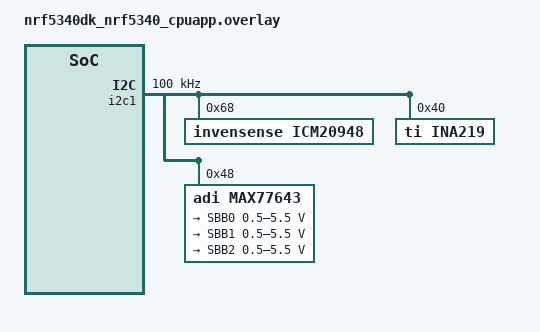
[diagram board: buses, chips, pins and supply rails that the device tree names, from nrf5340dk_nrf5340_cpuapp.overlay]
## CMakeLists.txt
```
# SPDX-License-Identifier: Apache-2.0

cmake_minimum_required(VERSION 3.20.0)

find_package(Zephyr REQUIRED HINTS $ENV{ZEPHYR_BASE})
project(ina219_magnetometer_max77643)

target_sources(app PRIVATE 
    src/main.c
    src/icm20948_zephyr.c
    src/xyzFloat_c.c
    src/ina219.c
    src/max77643.c
    src/signal_reconstruction.c
    src/motor_period_detector.c
)

target_include_directories(app PRIVATE
    src
    ${ZEPHYR_BASE}/include
    ${ZEPHYR_BASE}/drivers
)

zephyr_library_include_directories(${ZEPHYR_BASE}/include)
zephyr_library_include_directories(${ZEPHYR_BASE}/drivers)
zephyr_library_include_directories(${ZEPHYR_BASE}/subsys/logging)
```

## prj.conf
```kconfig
# nothing here
# nothing here
CONFIG_I2C=y
CONFIG_PRINTK=y
CONFIG_LOG=y
CONFIG_LOG_DEFAULT_LEVEL=3
CONFIG_SERIAL=y
CONFIG_CONSOLE=y
CONFIG_UART_CONSOLE=y
CONFIG_I2C_NRFX=y
CONFIG_NRFX_TIMER1=y
CONFIG_BOARD_ENABLE_CPUNET=y
CONFIG_SENSOR=y
CONFIG_CBPRINTF_FP_SUPPORT=y 
CONFIG_CMSIS_DSP=y
CONFIG_LOG_BACKEND_UART=n
CONFIG_USE_SEGGER_RTT=y
CONFIG_LOG_BACKEND_RTT=y
CONFIG_LOG_MODE_IMMEDIATE=y


# 在 Zephyr 啟用 CMSIS-DSP 函式庫的各種功能模組
CONFIG_CMSIS_DSP_FILTERING=y
CONFIG_CMSIS_DSP_STATISTICS=y
CONFIG_CMSIS_DSP_INTERPOLATION=y
CONFIG_FPU=y
CONFIG_FPU_SHARING=y

CONFIG_MAIN_STACK_SIZE=2048
CONFIG_SYSTEM_WORKQUEUE_STACK_SIZE=2048

CONFIG_THREAD_ANALYZER=y
CONFIG_THREAD_ANALYZER_USE_PRINTK=y
CONFIG_THREAD_NAME=y
CONFIG_THREAD_STACK_INFO=y

CONFIG_LOG_PROCESS_THREAD_STACK_SIZE=2048

CONFIG_GPIO=y
```

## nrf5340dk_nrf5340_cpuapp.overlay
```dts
&i2c1 {
	status = "okay";
	// compatible = "st,stm32-i2c-v1";
	compatible = "nordic,nrf-twim";
	clock-frequency = <I2C_BITRATE_STANDARD>;
	// clock-frequency = <100000>;
	pinctrl-0 = <&i2c1_default>;
    pinctrl-1 = <&i2c1_sleep>;
    pinctrl-names = "default", "sleep";

    icm20948: icm20948@68{
        compatible = "invensense,icm20948";
        reg = <0x68>;
		status = "okay";
    };
    ina219@40 {
		status = "okay";
		compatible = "ti,ina219";
		reg = <0x40>;
		brng = <0>;
		pg = <0>;
		sadc = <11>;
		badc = <11>;
		shunt-milliohm = <100>;
		lsb-microamp = <10>;
	};
	max77643: max77643@48 {
        compatible = "adi,max77643";
        // compatible = "i2c-device";
        reg = <0x48>;
        status = "okay";
        regulators {
            compatible = "adi,max77643-regulator";
            SBB0 {
                regulator-boot-on;
                regulator-min-microvolt = <500000>;   // 0.5V
                regulator-max-microvolt = <5500000>;  // 5.5V
            };
            SBB1 {
                regulator-boot-on;
                regulator-min-microvolt = <500000>;   // 0.5V
                regulator-max-microvolt = <5500000>;  // 5.5V
            };
            SBB2 {
                regulator-boot-on;
                regulator-min-microvolt = <500000>;   // 0.5V
                regulator-max-microvolt = <5500000>;  // 5.5V
            };
        };
    };
};
```

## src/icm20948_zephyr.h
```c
#ifndef ICM20948_ZEPHYR_H_
#define ICM20948_ZEPHYR_H_

#include <zephyr/kernel.h>
#include <zephyr/device.h>
#include <zephyr/drivers/i2c.h>
#include <zephyr/drivers/spi.h>
#include <zephyr/sys/util.h> // For BIT macros if needed
#include <stdbool.h>
#include "xyzFloat_c.h" // 使用轉換後的 xyzFloat_c.h

/* Enums from original library (can be kept as is) */
typedef enum {
    ICM20948_NO_CYCLE              = 0x00,
    ICM20948_GYR_CYCLE             = 0x10,
    ICM20948_ACC_CYCLE             = 0x20,
    ICM20948_ACC_GYR_CYCLE         = 0x30,
    ICM20948_ACC_GYR_I2C_MST_CYCLE = 0x70
} icm20948_cycle_t;

typedef enum {
    ICM20948_ACT_HIGH, ICM20948_ACT_LOW
} icm20948_int_pin_pol_t;

typedef enum {
    ICM20948_FSYNC_INT      = 0x01,
    ICM20948_WOM_INT        = 0x02,
    ICM20948_DMP_INT        = 0x04,
    ICM20948_DATA_READY_INT = 0x08,
    ICM20948_FIFO_OVF_INT   = 0x10,
    ICM20948_FIFO_WM_INT    = 0x20
} icm20948_int_type_t;

typedef enum {
    ICM20948_FIFO_ACC        = 0x10,
    ICM20948_FIFO_GYR        = 0x0E,
    ICM20948_FIFO_ACC_GYR    = 0x1E
} icm20948_fifo_type_t;

typedef enum {
    ICM20948_CONTINUOUS, ICM20948_STOP_WHEN_FULL
} icm20948_fifo_mode_t;

typedef enum {
    ICM20948_GYRO_RANGE_250, ICM20948_GYRO_RANGE_500, ICM20948_GYRO_RANGE_1000, ICM20948_GYRO_RANGE_2000
} icm20948_gyro_range_t;

typedef enum {
    ICM20948_DLPF_0, ICM20948_DLPF_1, ICM20948_DLPF_2, ICM20948_DLPF_3, ICM20948_DLPF_4, ICM20948_DLPF_5,
    ICM20948_DLPF_6, ICM20948_DLPF_7, ICM20948_DLPF_OFF
} icm20948_dlpf_t;

typedef enum {
    ICM20948_GYR_AVG_1, ICM20948_GYR_AVG_2, ICM20948_GYR_AVG_4, ICM20948_GYR_AVG_8, ICM20948_GYR_AVG_16,
    ICM20948_GYR_AVG_32, ICM20948_GYR_AVG_64, ICM20948_GYR_AVG_128
} icm20948_gyro_avg_low_power_t;

typedef enum {
    ICM20948_ACC_RANGE_2G, ICM20948_ACC_RANGE_4G, ICM20948_ACC_RANGE_8G, ICM20948_ACC_RANGE_16G
} icm20948_acc_range_t;

typedef enum {
    ICM20948_ACC_AVG_4, ICM20948_ACC_AVG_8, ICM20948_ACC_AVG_16, ICM20948_ACC_AVG_32
} icm20948_acc_avg_low_power_t;

typedef enum {
    ICM20948_WOM_COMP_DISABLE, ICM20948_WOM_COMP_ENABLE
} icm20948_wom_comp_en_t;

typedef enum {
    AK09916_PWR_DOWN           = 0x00,
    AK09916_TRIGGER_MODE       = 0x01,
    AK09916_CONT_MODE_10HZ     = 0x02,
    AK09916_CONT_MODE_20HZ     = 0x04,
    AK09916_CONT_MODE_50HZ     = 0x06,
    AK09916_CONT_MODE_100HZ    = 0x08
} ak09916_op_mode_t;

typedef enum {
  ICM20948_FLAT, ICM20948_FLAT_1, ICM20948_XY, ICM20948_XY_1, ICM20948_YX, ICM20948_YX_1
} icm20948_orientation_t;


/* Register definitions (from original .h, using #define) */
#define AK09916_ADDRESS                0x0C

/* Registers ICM20948 USER BANK 0*/
#define ICM20948_WHO_AM_I              0x00
#define ICM20948_USER_CTRL             0x03
#define ICM20948_LP_CONFIG             0x05
#define ICM20948_PWR_MGMT_1            0x06
#define ICM20948_PWR_MGMT_2            0x07
#define ICM20948_INT_PIN_CFG           0x0F
#define ICM20948_INT_ENABLE            0x10
#define ICM20948_INT_ENABLE_1          0x11
#define ICM20948_INT_ENABLE_2          0x12
#define ICM20948_INT_ENABLE_3          0x13
#define ICM20948_I2C_MST_STATUS        0x17
#define ICM20948_INT_STATUS            0x19
#define ICM20948_INT_STATUS_1          0x1A
#define ICM20948_INT_STATUS_2          0x1B
#define ICM20948_INT_STATUS_3          0x1C
#define ICM20948_DELAY_TIME_H          0x28
#define ICM20948_DELAY_TIME_L          0x29
#define ICM20948_ACCEL_OUT             0x2D // accel data registers begin
#define ICM20948_GYRO_OUT              0x33 // gyro data registers begin
#define ICM20948_TEMP_OUT              0x39
#define ICM20948_EXT_SLV_SENS_DATA_00  0x3B
#define ICM20948_FIFO_EN_1             0x66 // 新增
#define ICM20948_FIFO_EN_2             0x67 // 新增
#define ICM20948_FIFO_RST              0x68 // 新增
#define ICM20948_FIFO_MODE             0x69 // 新增
#define ICM20948_FIFO_COUNT            0x70 // 新增
#define ICM20948_FIFO_R_W              0x72 // 新增
#define ICM20948_DATA_RDY_STATUS       0x74 // 新增
#define ICM20948_FIFO_CFG              0x76 // 新增
// ... (add all other register definitions from the original ICM20948_WE.h) ...
#define ICM20948_REG_BANK_SEL          0x7F

/* Registers ICM20948 USER BANK 1*/ // 新增區塊
#define ICM20948_SELF_TEST_X_GYRO      0x02
#define ICM20948_SELF_TEST_Y_GYRO      0x03
#define ICM20948_SELF_TEST_Z_GYRO      0x04
#define ICM20948_SELF_TEST_X_ACCEL     0x0E
#define ICM20948_SELF_TEST_Y_ACCEL     0x0F
#define ICM20948_SELF_TEST_Z_ACCEL     0x10
#define ICM20948_XA_OFFS_H             0x14
#define ICM20948_XA_OFFS_L             0x15
#define ICM20948_YA_OFFS_H             0x17
#define ICM20948_YA_OFFS_L             0x18
#define ICM20948_ZA_OFFS_H             0x1A
#define ICM20948_ZA_OFFS_L             0x1B
#define ICM20948_TIMEBASE_CORR_PLL     0x28

/* Registers ICM20948 USER BANK 2*/
#define ICM20948_GYRO_SMPLRT_DIV       0x00 // 新增
#define ICM20948_GYRO_CONFIG_1         0x01 // <<< 錯誤點
#define ICM20948_GYRO_CONFIG_2         0x02 // 新增
#define ICM20948_XG_OFFS_USRH          0x03 // 新增
#define ICM20948_XG_OFFS_USRL          0x04 // 新增
#define ICM20948_YG_OFFS_USRH          0x05 // 新增
#define ICM20948_YG_OFFS_USRL          0x06 // 新增
#define ICM20948_ZG_OFFS_USRH          0x07 // 新增
#define ICM20948_ZG_OFFS_USRL          0x08 // 新增
#define ICM20948_ODR_ALIGN_EN          0x09 // <<< 錯誤點
#define ICM20948_ACCEL_SMPLRT_DIV_1    0x10 // 新增
#define ICM20948_ACCEL_SMPLRT_DIV_2    0x11 // 新增
#define ICM20948_ACCEL_INTEL_CTRL      0x12 // 新增
#define ICM20948_ACCEL_WOM_THR         0x13 // 新增
#define ICM20948_ACCEL_CONFIG          0x14 // <<< 錯誤點
#define ICM20948_ACCEL_CONFIG_2        0x15 // 新增
#define ICM20948_FSYNC_CONFIG          0x52 // 新增
#define ICM20948_TEMP_CONFIG           0x53 // 新增
#define ICM20948_MOD_CTRL_USR          0x54 // 新增

/* Registers ICM20948 USER BANK 3*/
#define ICM20948_I2C_MST_ODR_CFG       0x00 // 新增
#define ICM20948_I2C_MST_CTRL          0x01 // <<< 錯誤點
#define ICM20948_I2C_MST_DELAY_CTRL    0x02 // 新增
#define ICM20948_I2C_SLV0_ADDR         0x03 // <<< 錯誤點
#define ICM20948_I2C_SLV0_REG          0x04 // <<< 錯誤點
#define ICM20948_I2C_SLV0_CTRL         0x05 // <<< 錯誤點
#define ICM20948_I2C_SLV0_DO           0x06 // 新增
#define ICM20948_I2C_SLV4_ADDR         0x13 // <<< 錯誤點
#define ICM20948_I2C_SLV4_REG          0x14 // <<< 錯誤點
#define ICM20948_I2C_SLV4_CTRL         0x15 // <<< 錯誤點
#define ICM20948_I2C_SLV4_DO           0x16 // <<< 錯誤點
#define ICM20948_I2C_SLV4_DI           0x17 // <<< 錯誤點

/* Registers AK09916 */
#define AK09916_WIA_1                  0x00
#define AK09916_WIA_2                  0x01 // 新增
#define AK09916_CNTL_2                 0x31
#define AK09916_CNTL_3                 0x32
#define AK09916_STATUS_1               0x10
#define AK09916_HXL                    0x11
#define AK09916_HXH                    0x12 // 新增
#define AK09916_HYL                    0x13 // 新增
#define AK09916_HYH                    0x14 // 新增
#define AK09916_HZL                    0x15 // 新增
#define AK09916_HZH                    0x16 // 新增
#define AK09916_STATUS_2               0x18
// ... (add all other AK09916 register definitions)

/* Register Bits */
#define ICM20948_RESET                 0x80
#define ICM20948_I2C_MST_EN            0x20
#define ICM20948_SLEEP_BIT             0x40 // Renamed from ICM20948_SLEEP to avoid conflict with k_sleep
#define ICM20948_LP_EN                 0x20
#define ICM20948_BYPASS_EN             0x02
// ... (add all other register bit definitions) ...
#define ICM20948_I2C_SLVX_EN           0x80
#define AK09916_READ                   0x80
#define ICM20948_I2C_MST_RST_BIT       0x02 // Renamed

/* Others */
#define AK09916_WHO_AM_I_1_VAL         0x4809 // Renamed from AK09916_WHO_AM_I_1
#define AK09916_WHO_AM_I_2_VAL         0x0948 // Renamed from AK09916_WHO_AM_I_2
#define ICM20948_WHO_AM_I_CONTENT      0xEA
#define ICM20948_ROOM_TEMP_OFFSET      0.0f
#define ICM20948_T_SENSITIVITY         333.87f
#define AK09916_MAG_LSB                0.1495f



// Structure to hold device data and configuration (replaces the C++ class)
typedef struct {
    union { // Union for I2C or SPI device specs
        struct i2c_dt_spec i2c;
        struct spi_dt_spec spi;
    } bus_cfg;
    bool use_spi;

    uint8_t current_bank;
    uint8_t buffer[20]; // For readAllData
    xyzFloat_t acc_offset_val;
    xyzFloat_t acc_corr_factor;
    xyzFloat_t gyr_offset_val;
    float acc_range_factor; // Store calculated factor instead of enum value
    float gyr_range_factor; // Store calculated factor instead of enum value
    icm20948_fifo_type_t fifo_type;

    // Add any other members that were part of the C++ class state
    uint8_t reg_val_cache; // For regVal in original code

} icm20948_dev_t;

/* Public function prototypes (C equivalent of public methods) */

// Initialization
int icm20948_init(icm20948_dev_t *dev, const struct device *bus_dev, bool is_spi, uint16_t addr_or_cs_gpio_pin);
// If SPI, addr_or_cs_gpio_pin is the CS GPIO pin number. This is a simplified init.
// A more robust SPI init would take a full spi_dt_spec or allow more spi_config parameters.
// For I2C, it's the I2C address.

// Basic settings
int icm20948_auto_offsets(icm20948_dev_t *dev);
int icm20948_set_acc_offsets_minmax(icm20948_dev_t *dev, float x_min, float x_max, float y_min, float y_max, float z_min, float z_max);
int icm20948_set_acc_offsets_struct(icm20948_dev_t *dev, xyzFloat_t offset);
xyzFloat_t icm20948_get_acc_offsets(icm20948_dev_t *dev);
int icm20948_set_gyr_offsets_values(icm20948_dev_t *dev, float x_offset, float y_offset, float z_offset);
int icm20948_set_gyr_offsets_struct(icm20948_dev_t *dev, xyzFloat_t offset);
xyzFloat_t icm20948_get_gyr_offsets(icm20948_dev_t *dev);
int icm20948_who_am_i(icm20948_dev_t *dev, uint8_t *value);
int icm20948_enable_acc(icm20948_dev_t *dev, bool enable);
int icm20948_set_acc_range(icm20948_dev_t *dev, icm20948_acc_range_t acc_range);
int icm20948_set_acc_dlpf(icm20948_dev_t *dev, icm20948_dlpf_t dlpf);
int icm20948_set_acc_sample_rate_divider(icm20948_dev_t *dev, uint16_t acc_spl_rate_div);
int icm20948_enable_gyr(icm20948_dev_t *dev, bool enable);
int icm20948_set_gyr_range(icm20948_dev_t *dev, icm20948_gyro_range_t gyro_range);
int icm20948_set_gyr_dlpf(icm20948_dev_t *dev, icm20948_dlpf_t dlpf);
int icm20948_set_gyr_sample_rate_divider(icm20948_dev_t *dev, uint8_t gyr_spl_rate_div);
int icm20948_set_temp_dlpf(icm20948_dev_t *dev, icm20948_dlpf_t dlpf);
int icm20948_set_i2c_mst_sample_rate(icm20948_dev_t *dev, uint8_t rate_exp);
// setSPIClockSpeed would be part of spi_config in Zephyr, handled at init for spi_dt_spec

// x,y,z results
int icm20948_read_sensor_data(icm20948_dev_t *dev); // Renamed from readSensor to avoid conflict, reads all data to dev->buffer
int icm20948_get_acc_raw_values(icm20948_dev_t *dev, xyzFloat_t *acc_raw_val);
int icm20948_get_corrected_acc_raw_values(icm20948_dev_t *dev, xyzFloat_t *corr_acc_raw_val);
int icm20948_get_g_values(icm20948_dev_t *dev, xyzFloat_t *g_val);
// FIFO functions would need more significant rewrite for Zephyr, potentially using interrupts
// For now, let's assume direct read functions
int icm20948_get_acc_raw_values_from_fifo(icm20948_dev_t *dev, xyzFloat_t *acc_raw_val);
int icm20948_get_corrected_acc_raw_values_from_fifo(icm20948_dev_t *dev, xyzFloat_t *acc_raw_val);
int icm20948_get_g_values_from_fifo(icm20948_dev_t *dev, xyzFloat_t *g_val);

float icm20948_get_resultant_g(xyzFloat_t *g_val); // This can be a utility function not needing *dev
int icm20948_get_temperature(icm20948_dev_t *dev, float *temp);
int icm20948_get_gyr_raw_values(icm20948_dev_t *dev, xyzFloat_t *gyr_raw_val);
int icm20948_get_corrected_gyr_raw_values(icm20948_dev_t *dev, xyzFloat_t *corr_gyr_val);
int icm20948_get_gyr_values(icm20948_dev_t *dev, xyzFloat_t *gyr_val);
int icm20948_get_gyr_values_from_fifo(icm20948_dev_t *dev, xyzFloat_t *gyr_val);
int icm20948_get_mag_values(icm20948_dev_t *dev, xyzFloat_t *mag_val);


// Angles and Orientation
int icm20948_get_angles(icm20948_dev_t *dev, xyzFloat_t *angle_val);
icm20948_orientation_t icm20948_get_orientation(icm20948_dev_t *dev);
const char* icm20948_get_orientation_as_string(icm20948_dev_t *dev); // Returns const char*
float icm20948_get_pitch(icm20948_dev_t *dev);
float icm20948_get_roll(icm20948_dev_t *dev);


// Power, Sleep, Standby
int icm20948_enable_cycle(icm20948_dev_t *dev, icm20948_cycle_t cycle);
int icm20948_enable_low_power(icm20948_dev_t *dev, bool en_lp);
int icm20948_set_gyr_average_in_cycle_mode(icm20948_dev_t *dev, icm20948_gyro_avg_low_power_t avg);
int icm20948_set_acc_average_in_cycle_mode(icm20948_dev_t *dev, icm20948_acc_avg_low_power_t avg);
int icm20948_set_sleep_mode(icm20948_dev_t *dev, bool sleep_en); // Renamed from sleep


// Interrupts
int icm20948_set_int_pin_polarity(icm20948_dev_t *dev, icm20948_int_pin_pol_t pol);
int icm20948_enable_int_latch(icm20948_dev_t *dev, bool latch);
int icm20948_enable_clear_int_by_any_read(icm20948_dev_t *dev, bool clear_by_any_read);
int icm20948_set_fsync_int_polarity(icm20948_dev_t *dev, icm20948_int_pin_pol_t pol);
int icm20948_enable_interrupt(icm20948_dev_t *dev, icm20948_int_type_t int_type);
int icm20948_disable_interrupt(icm20948_dev_t *dev, icm20948_int_type_t int_type);
int icm20948_read_and_clear_interrupts(icm20948_dev_t *dev, uint8_t *int_source);
bool icm20948_check_interrupt(uint8_t source, icm20948_int_type_t type); // Utility
int icm20948_set_wake_on_motion_threshold(icm20948_dev_t *dev, uint8_t wom_thresh, icm20948_wom_comp_en_t wom_comp_en);


// FIFO
int icm20948_enable_fifo(icm20948_dev_t *dev, bool fifo_en);
int icm20948_set_fifo_mode(icm20948_dev_t *dev, icm20948_fifo_mode_t mode);
int icm20948_start_fifo(icm20948_dev_t *dev, icm20948_fifo_type_t fifo_type);
int icm20948_stop_fifo(icm20948_dev_t *dev);
int icm20948_reset_fifo(icm20948_dev_t *dev);
int icm20948_get_fifo_count(icm20948_dev_t *dev, int16_t *count);
int icm20948_get_number_of_fifo_data_sets(icm20948_dev_t *dev, int16_t *num_sets);
int icm20948_find_fifo_begin(icm20948_dev_t *dev);


// Magnetometer (AK09916 specific, accessed via ICM20948 I2C Master)
int icm20948_init_magnetometer(icm20948_dev_t *dev);
int icm20948_who_am_i_mag(icm20948_dev_t *dev, uint16_t *mag_id);
int icm20948_set_mag_op_mode(icm20948_dev_t *dev, ak09916_op_mode_t op_mode);
int icm20948_reset_mag(icm20948_dev_t *dev);


#endif // ICM20948_ZEPHYR_H_
```

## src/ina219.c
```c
#include "ina219.h"
#include <zephyr/logging/log.h>

LOG_MODULE_REGISTER(ina219, LOG_LEVEL_DBG);

// 寫入16位元寄存器
static int ina219_write_reg(struct ina219_data *data, uint8_t reg, uint16_t val) {
    uint8_t buf[3];
    buf[0] = reg;
    buf[1] = (val >> 8) & 0xFF;  // MSB
    buf[2] = val & 0xFF;          // LSB
    
    return i2c_write(data->i2c_dev, buf, sizeof(buf), data->addr);
}

// 讀取16位元寄存器
static int ina219_read_reg(struct ina219_data *data, uint8_t reg, uint16_t *val) {
    uint8_t tx_buf[1] = {reg};
    uint8_t rx_buf[2];
    int ret;
    
    // 發送寄存器地址
    ret = i2c_write(data->i2c_dev, tx_buf, 1, data->addr);
    if (ret < 0) {
        LOG_ERR("Failed to write register address: %d", ret);
        return ret;
    }
    
    // 讀取數據
    ret = i2c_read(data->i2c_dev, rx_buf, 2, data->addr);
    if (ret < 0) {
        LOG_ERR("Failed to read register data: %d", ret);
        return ret;
    }
    
    // 組合MSB和LSB
    *val = (rx_buf[0] << 8) | rx_buf[1];
    return 0;
}

// 初始化INA219
int ina219_init(struct ina219_data *data, const struct device *i2c_dev, uint8_t addr) {
    if (!i2c_dev) {
        LOG_ERR("I2C device is NULL");
        return -EINVAL;
    }
    
    data->i2c_dev = i2c_dev;
    data->addr = addr;
    
    // 重置裝置
    int ret = ina219_reset(data);
    if (ret < 0) {
        LOG_ERR("Failed to reset INA219");
        return ret;
    }
    
    // 等待重置完成
    k_msleep(1);
    
    // 設定預設配置
    data->config = INA219_BUSRANGE_32V |
                   INA219_GAIN_320MV |
                   INA219_ADC_12BIT |
                   (INA219_ADC_12BIT << 3) |
                   INA219_MODE_SHUNT_BUS_CONTINUOUS;
    
    ret = ina219_write_reg(data, INA219_REG_CONFIG, data->config);
    if (ret < 0) {
        LOG_ERR("Failed to write config register");
        return ret;
    }
    
    LOG_INF("INA219 initialized at address 0x%02x", addr);
    return 0;
}

// 重置INA219
int ina219_reset(struct ina219_data *data) {
    return ina219_write_reg(data, INA219_REG_CONFIG, INA219_CONFIG_RESET);
}

// 設定校準值 - 修正浮點數警告
int ina219_set_calibration(struct ina219_data *data, float shunt_ohms, float max_expected_current) {
    data->shunt_ohms = shunt_ohms;
    
    // 計算校準值 - 使用 float 常數 (加 f 後綴)
    // Current_LSB = Maximum Expected Current / 32768
    data->current_lsb = max_expected_current / 32768.0f;  // 使用 float 常數
    
    // Cal = 0.04096 / (Current_LSB * Rshunt)
    data->cal_value = (uint16_t)(0.04096f / (data->current_lsb * shunt_ohms));  // 使用 float 常數
    
    // Power_LSB = 20 * Current_LSB
    data->power_lsb = 20.0f * data->current_lsb;  // 使用 float 常數
    
    // 修正 LOG_INF 的浮點數格式問題
    LOG_INF("Calibration: shunt=%.4f ohms, cal_value=%u, current_lsb=%.6f", 
            (double)shunt_ohms, data->cal_value, (double)data->current_lsb);
    
    return ina219_write_reg(data, INA219_REG_CALIBRATION, data->cal_value);
}

// 設定ADC模式
int ina219_set_adc_mode(struct ina219_data *data, ina219_adc_mode_t shunt_adc, ina219_adc_mode_t bus_adc) {
    // 清除ADC位元
    data->config &= ~(0x0780);  // 清除BADC (bits 7-10)
    data->config &= ~(0x0078);  // 清除SADC (bits 3-6)
    
    // 設定新的ADC模式
    data->config |= ((bus_adc & 0x0F) << 7);    // BADC
    data->config |= ((shunt_adc & 0x0F) << 3);  // SADC
    
    LOG_DBG("Setting ADC mode: shunt=0x%02x, bus=0x%02x, config=0x%04x", 
            shunt_adc, bus_adc, data->config);
    
    return ina219_write_reg(data, INA219_REG_CONFIG, data->config);
}

// 設定操作模式
int ina219_set_mode(struct ina219_data *data, ina219_mode_t mode) {
    data->config &= ~0x0007;  // 清除MODE位元
    data->config |= (mode & 0x0007);
    
    return ina219_write_reg(data, INA219_REG_CONFIG, data->config);
}

// 設定匯流排電壓範圍
int ina219_set_bus_range(struct ina219_data *data, ina219_busrange_t range) {
    data->config &= ~0x2000;  // 清除BRNG位元
    data->config |= (range & 0x2000);
    
    return ina219_write_reg(data, INA219_REG_CONFIG, data->config);
}

// 設定PGA增益
int ina219_set_gain(struct ina219_data *data, ina219_gain_t gain) {
    data->config &= ~0x1800;  // 清除PG位元
    data->config |= (gain & 0x1800);
    
    return ina219_write_reg(data, INA219_REG_CONFIG, data->config);
}

// 讀取電流（mA）- 修正浮點數警告
float ina219_read_current(struct ina219_data *data) {
    uint16_t raw;
    int ret = ina219_read_reg(data, INA219_REG_CURRENT, &raw);
    if (ret < 0) {
        LOG_ERR("Failed to read current register");
        return 0.0f;
    }
    
    // 轉換為mA - 使用 float 常數
    return (int16_t)raw * data->current_lsb * 1000.0f;
}

// 讀取匯流排電壓（V）
float ina219_read_bus_voltage(struct ina219_data *data) {
    uint16_t raw;
    int ret = ina219_read_reg(data, INA219_REG_BUSVOLTAGE, &raw);
    if (ret < 0) {
        LOG_ERR("Failed to read bus voltage register");
        return 0.0f;
    }
    
    // 位元1是CNVR（轉換就緒）
    // 位元0是OVF（溢位）
    // 實際電壓值在位元3-15
    return ((raw >> 3) * 4) / 1000.0f;  // LSB = 4mV, 使用 float 常數
}

// 讀取分流電壓（mV）
float ina219_read_shunt_voltage(struct ina219_data *data) {
    uint16_t raw;
    int ret = ina219_read_reg(data, INA219_REG_SHUNTVOLTAGE, &raw);
    if (ret < 0) {
        LOG_ERR("Failed to read shunt voltage register");
        return 0.0f;
    }
    
    // LSB = 10uV
    return (int16_t)raw * 0.01f;  // 轉換為mV, 使用 float 常數
}

// 讀取功率（mW）- 修正浮點數警告
float ina219_read_power(struct ina219_data *data) {
    uint16_t raw;
    int ret = ina219_read_reg(data, INA219_REG_POWER, &raw);
    if (ret < 0) {
        LOG_ERR("Failed to read power register");
        return 0.0f;
    }
    
    return raw * data->power_lsb * 1000.0f;  // 轉換為mW, 使用 float 常數
}
```

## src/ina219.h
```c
#ifndef INA219_H_
#define INA219_H_

#include <zephyr/kernel.h>
#include <zephyr/device.h>
#include <zephyr/drivers/i2c.h>

// INA219寄存器地址
#define INA219_REG_CONFIG       0x00
#define INA219_REG_SHUNTVOLTAGE 0x01
#define INA219_REG_BUSVOLTAGE   0x02
#define INA219_REG_POWER        0x03
#define INA219_REG_CURRENT      0x04
#define INA219_REG_CALIBRATION  0x05

// INA219預設I2C地址
#define INA219_ADDR_DEFAULT     0x40

// 配置寄存器位定義
#define INA219_CONFIG_RESET     0x8000

// ADC解析度/平均設定
typedef enum {
    INA219_ADC_9BIT         = 0x0000,  // 9-bit, 1 sample, 84us
    INA219_ADC_10BIT        = 0x0001,  // 10-bit, 1 sample, 148us
    INA219_ADC_11BIT        = 0x0002,  // 11-bit, 1 sample, 276us
    INA219_ADC_12BIT        = 0x0003,  // 12-bit, 1 sample, 532us
    INA219_ADC_12BIT_2S     = 0x0009,  // 12-bit, 2 samples, 1.06ms
    INA219_ADC_12BIT_4S     = 0x000A,  // 12-bit, 4 samples, 2.13ms
    INA219_ADC_12BIT_8S     = 0x000B,  // 12-bit, 8 samples, 4.26ms
    INA219_ADC_12BIT_16S    = 0x000C,  // 12-bit, 16 samples, 8.51ms
    INA219_ADC_12BIT_32S    = 0x000D,  // 12-bit, 32 samples, 17.02ms
    INA219_ADC_12BIT_64S    = 0x000E,  // 12-bit, 64 samples, 34.05ms
    INA219_ADC_12BIT_128S   = 0x000F   // 12-bit, 128 samples, 68.10ms
} ina219_adc_mode_t;

// PGA增益設定
typedef enum {
    INA219_GAIN_40MV        = 0x0000,  // 40mV Range 最高靈敏度
    INA219_GAIN_80MV        = 0x0800,  // 80mV Range
    INA219_GAIN_160MV       = 0x1000,  // 160mV Range
    INA219_GAIN_320MV       = 0x1800   // 320mV Range 最大量程
} ina219_gain_t;

// 匯流排電壓範圍
typedef enum {
    INA219_BUSRANGE_16V     = 0x0000,  // 16V Range
    INA219_BUSRANGE_32V     = 0x2000   // 32V Range
} ina219_busrange_t;

// 操作模式
typedef enum {
    INA219_MODE_POWERDOWN           = 0x0000,
    INA219_MODE_SHUNT_TRIGGERED     = 0x0001,
    INA219_MODE_BUS_TRIGGERED       = 0x0002,
    INA219_MODE_SHUNT_BUS_TRIGGERED = 0x0003,
    INA219_MODE_ADC_OFF             = 0x0004,
    INA219_MODE_SHUNT_CONTINUOUS    = 0x0005,
    INA219_MODE_BUS_CONTINUOUS      = 0x0006,
    INA219_MODE_SHUNT_BUS_CONTINUOUS = 0x0007
} ina219_mode_t;

// INA219裝置結構
struct ina219_data {
    const struct device *i2c_dev;
    uint8_t addr;
    uint16_t config;
    uint16_t cal_value;
    float current_lsb;
    float power_lsb;
    float shunt_ohms;
};

// 函數原型
int ina219_init(struct ina219_data *data, const struct device *i2c_dev, uint8_t addr);
int ina219_reset(struct ina219_data *data);
int ina219_set_calibration(struct ina219_data *data, float shunt_ohms, float max_expected_current);
int ina219_set_adc_mode(struct ina219_data *data, ina219_adc_mode_t shunt_adc, ina219_adc_mode_t bus_adc);
int ina219_set_mode(struct ina219_data *data, ina219_mode_t mode);
int ina219_set_bus_range(struct ina219_data *data, ina219_busrange_t range);
int ina219_set_gain(struct ina219_data *data, ina219_gain_t gain);
float ina219_read_current(struct ina219_data *data);
float ina219_read_bus_voltage(struct ina219_data *data);
float ina219_read_shunt_voltage(struct ina219_data *data);
float ina219_read_power(struct ina219_data *data);

#endif /* INA219_H_ */
```

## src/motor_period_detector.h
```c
/*
 * motor_period_detector.h
 * 
 * 馬達週期檢測模組
 * 功能：
 * 1. 通過電流信號檢測馬達旋轉週期
 * 2. 計算每個週期內的平均電流、峰值電流、能量消耗
 * 
 * 適用於 nRF5340DK (ARM Cortex-M33)
 * 
 * 日期：20251218
 */

#ifndef MOTOR_PERIOD_DETECTOR_H
#define MOTOR_PERIOD_DETECTOR_H

#include <zephyr/kernel.h>
#include <stdbool.h>
#include <stdint.h>

/* ============ 配置參數 ============ */
#define PERIOD_BUFFER_SIZE      5000     // 一個週期內最大樣本數
#define MIN_PERIOD_MS           100     // 最小有效週期 (ms) 60rpm:300/300rpm：100/1500rpm：20
#define MAX_PERIOD_MS           1200    // 最大有效週期 (ms) 60rpm:6000/300rpm：1200/1500rpm：240
#define PEAK_DETECTION_WINDOW   4       // 峰值檢測窗口大小 60rpm:7/300rpm:5/1500rpm:2
#define VALLEY_DETECTION_WINDOW 4       // 谷值檢測窗口大小 60rpm:7/300rpm:5/1500rpm:2
#define MIN_SAMPLES_PER_PERIOD  5      // 每週期最少樣本數

/* Peak Prominence 參數 */
#define MIN_PROMINENCE_MA       1.0f    // 最小峰值突出度 (mA)|新增：20260101 60rpm:3.0f/300rpm:0.5f/1500rpm:0.1f


/* AC/DC 計算參數 */
#define AC_DC_WINDOW_SIZE       1       // 峰值/谷值前後各取幾個樣本（總共 2*N+1 個）
#define AC_THRESHOLD_PERCENT    0.9f   // ← 新增：AC 百分比閾值（90% = 谷值 + 90% × (峰值-谷值)）


/* ============ 檢測方法選擇 ============ */
typedef enum {
    DETECT_METHOD_PEAK,         // 峰值檢測法
    DETECT_METHOD_ZERO_CROSS,   // 零交叉檢測法
    DETECT_METHOD_THRESHOLD     // 閾值檢測法
} detect_method_t;

/* ============ 週期數據結構 ============ */
typedef struct {
    float period_time;          // 週期時間 (秒)
    float average_current;      // 平均電流 (mA)
    float peak_current;         // 峰值電流 (mA)
    float min_current;          // 最小電流 (mA)
    float rms_current;          // RMS 電流 (mA)
    float energy;               // 能量消耗 (mJ) = 平均電流 × 電壓 × 時間
    int sample_count;           // 樣本數量
    float start_time;           // 週期開始時間
    float end_time;             // 週期結束時間
    // 新增：20260103
    float peak_time;            // 峰值時間點
    float valley_time;          // 谷值時間點

    float voltage;              // 平均電壓 (V)
    bool valid;                 // 數據是否有效

    /* 新增20251230：峰值和谷值附近的平均電流 */
    float ac_current;           // 峰值附近平均電流 (mA) - 峰值前後各2個+峰值
    float dc_current;           // 谷值附近平均電流 (mA) - 谷值前後各2個+谷值
    bool ac_valid;              // AC 值是否有效
    bool dc_valid;              // DC 值是否有效
    /* 新增20260108：百分比閾值法相關參數 */
    float ac_time;              // ← AC 時間 (秒) - 電流高於閾值的持續時間
    float ac_start_time;        // ← AC 區域開始時間 (秒)
    float ac_end_time;          // ← AC 區域結束時間 (秒)
    int ac_sample_count;        // ← AC 區域的樣本數量
    float ac_threshold;         // ← 使用的閾值 (mA)


} period_data_t;

/* ↓↓↓ 新增20260110：待輸出週期暫存結構 ↓↓↓ */
typedef struct {
    float peak_value;               // 峰值電流（用於計算 AC 閾值）
    float peak_time;                // 新增20260114：當前週期的峰值時間
    int peak_buffer_idx;            // 峰值在緩衝區中的索引

    /* 新增20260114：上一個週期的結束點（= 當前週期的起點）*/
    float prev_peak_time;           // 新增：上一個峰值時間 = start_time
    float prev_peak_value;          // 新增：上一個峰值電流

    /*狀態標記*/
    bool pending;                   // 是否有待處理的週期
    bool statistics_calculated;     // 新增20260114：統計數據是否已計算

    period_data_t data;             // 週期數據（在谷值確認後填充）

} pending_period_t;

/* ============ 檢測器狀態 ============ */
typedef enum {
    STATE_INIT,
    STATE_WAITING_FIRST_PEAK,
    STATE_WAITING_VALLEY,       // 新增：等待谷值
    STATE_COLLECTING,
    STATE_PERIOD_COMPLETE
} detector_state_t;

/* ============ 週期檢測器結構 ============ */
typedef struct {
    /* 檢測方法 */
    detect_method_t method;
    
    /* 狀態機 */
    detector_state_t state;
    
    /* 當前週期數據緩衝 */
    float current_buffer[PERIOD_BUFFER_SIZE];
    float voltage_buffer[PERIOD_BUFFER_SIZE];
    float time_buffer[PERIOD_BUFFER_SIZE];
    int buffer_idx;
    
    /* 峰值檢測相關 */
    float last_peak_value;      // 上一個峰值
    float last_peak_time;       // 上一個峰值時間
    float current_max;          // 當前週期最大值
    float current_max_time;     // 當前最大值時間
    int samples_since_max;      // 距離最大值的樣本數
    int peak_buffer_idx;        // 20251230：峰值在緩衝區中的索引

    /* 谷值檢測相關 */
    float current_min;          // 當前最小值
    float current_min_time;     // 當前最小值時間
    int samples_since_min;      // 距離最小值的樣本數
    int valley_buffer_idx;      // 20251230：谷值在緩衝區中的索引

    /* 20260101新增：已確認的谷值（用於 prominence 計算）*/
    float confirmed_valley_value;   // 已確認的谷值電流
    float confirmed_valley_time;    // 已確認的谷值時間
    bool valley_confirmed;          // 谷值是否已確認

    /*20260104新增：已確認的峰值（用於 prominence 計算）*/
    float confirmed_peak_value;     // 已確認的峰值電流
    float confirmed_peak_time;      // 已確認的峰值時間
    bool peak_confirmed;            // 峰值是否已確認
    
    /* 零交叉檢測相關 */
    float dc_offset;            // 直流偏移量
    float prev_value;           // 前一個值
    bool prev_above_offset;     // 前一個值是否在偏移量之上
    
    /* 閾值檢測相關 */
    float threshold_high;       // 上閾值
    float threshold_low;        // 下閾值
    bool above_threshold;       // 是否在閾值之上
    
    /* 週期統計 */
    float measured_period;      // 測量到的週期 (秒)
    float period_sum;           // 週期累加（用於計算平均）
    int period_count;           // 有效週期計數
    float average_period;       // 平均週期

    /* 假峰值統計（新增20260101）*/
    int false_peak_count;       // 被過濾的假峰值計數
    /* 假谷值統計（新增20260104）*/
    int false_valley_count;     // 被過濾的假谷值計數
    
    /* 最近一次完整週期的數據 */
    period_data_t last_period;

    /* 新增20260110：待輸出的週期（等待 AC 計算完成）*/
    pending_period_t pending_period;
    
    /* 回調函數（週期完成時調用）*/
    void (*on_period_complete)(period_data_t *data);
    
} motor_period_detector_t;

/* ============ 函數原型 ============ */

/**
 * @brief 初始化週期檢測器
 * @param detector 檢測器指針
 * @param method 檢測方法
 */
void period_detector_init(motor_period_detector_t *detector, detect_method_t method);

/**
 * @brief 設置週期完成回調函數
 * @param detector 檢測器指針
 * @param callback 回調函數
 */
void period_detector_set_callback(motor_period_detector_t *detector, 
                                   void (*callback)(period_data_t *data));

/**
 * @brief 處理新的電流樣本
 * @param detector 檢測器指針
 * @param current 電流值 (mA)
 * @param voltage 電壓值 (V)
 * @param timestamp 時間戳 (秒)
 * @return true 如果檢測到完整週期
 */
bool period_detector_process(motor_period_detector_t *detector, 
                             float current, 
                             float voltage,
                             float timestamp);

/**
 * @brief 設置閾值（用於閾值檢測法）
 * @param detector 檢測器指針
 * @param high 上閾值
 * @param low 下閾值
 */
void period_detector_set_threshold(motor_period_detector_t *detector, 
                                    float high, float low);

/**
 * @brief 獲取最近一次週期數據
 * @param detector 檢測器指針
 * @return 週期數據指針
 */
period_data_t* period_detector_get_last_period(motor_period_detector_t *detector);

/**
 * @brief 獲取平均週期時間
 * @param detector 檢測器指針
 * @return 平均週期 (秒)，如果無效返回 0
 */
float period_detector_get_average_period(motor_period_detector_t *detector);

/**
 * @brief 獲取週期計數
 * @param detector 檢測器指針
 * @return 已檢測到的有效週期數量
 */
int period_detector_get_period_count(motor_period_detector_t *detector);

/**
 * @brief 重置檢測器
 * @param detector 檢測器指針
 */
void period_detector_reset(motor_period_detector_t *detector);

/**
 * @brief 更新直流偏移量（用於零交叉檢測）
 * @param detector 檢測器指針
 * @param current 當前電流值
 */
void period_detector_update_dc_offset(motor_period_detector_t *detector, float current);

#endif // MOTOR_PERIOD_DETECTOR_H
```

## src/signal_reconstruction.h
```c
/*
 * signal_reconstruction.h
 * 
 * 信號重建模組 - 用於馬達電流波形還原
 * 包含：Hampel 濾波器、相位鎖定重建、Cubic Spline 插值
 * 
 * 適用於 nRF5340DK (ARM Cortex-M33 @ 128MHz)
 * 
 * 日期：20251218
 */

#ifndef SIGNAL_RECONSTRUCTION_H
#define SIGNAL_RECONSTRUCTION_H

#include <zephyr/kernel.h>
#include <stdbool.h>
#include <stdint.h>
#include <math.h>

/* ============ 緩衝區配置 ============ */
#define SAMPLE_BUFFER_SIZE      100     // 樣本緩衝區大小
#define HAMPEL_WINDOW_SIZE      7       // Hampel 濾波器窗口大小（必須為奇數）
#define HAMPEL_THRESHOLD        3.0f    // Hampel 閾值（MAD 倍數）
#define MAD_SCALE_FACTOR        1.4826f // MAD 到標準差的轉換因子（高斯分佈）

/* ============ 相位鎖定配置 ============ */
#define MIN_PERIOD_MS           200     // 最小週期 (ms)
#define MAX_PERIOD_MS           500     // 最大週期 (ms)
#define ZERO_CROSSING_HYSTERESIS 0.5f   // 零交叉檢測遲滯 (mA)

/* ============ Cubic Spline 配置 ============ */
#define SPLINE_POINTS           20      // 用於插值的點數
#define INTERPOLATION_FACTOR    4       // 插值倍數（用於峰值檢測）

/* ============ 樣本質量標記 ============ */
typedef enum {
    QUALITY_MEASURED = 0,       // 正常測量值
    QUALITY_FILTERED = 1,       // 經過濾波修正
    QUALITY_INTERPOLATED = 2,   // 插值重建
    QUALITY_PHASE_LOCKED = 3,   // 相位鎖定重建
    QUALITY_INVALID = 4         // 無效數據
} sample_quality_t;

/* ============ 單一樣本結構 ============ */
typedef struct {
    float value;                // 電流值 (mA)
    float timestamp;            // 時間戳 (秒)
    sample_quality_t quality;   // 樣本質量標記
} sample_t;

/* ============ 循環緩衝區結構 ============ */
typedef struct {
    sample_t samples[SAMPLE_BUFFER_SIZE];
    int write_idx;              // 寫入索引
    int count;                  // 當前樣本數量
    float last_timestamp;       // 上一個時間戳
    float expected_interval;    // 預期取樣間隔 (秒)
} sample_buffer_t;

/* ============ 週期追蹤器結構 ============ */
typedef struct {
    float last_zero_crossing;   // 上一次零交叉時間
    float measured_period;      // 測量到的週期 (秒)
    int samples_per_period;     // 每週期樣本數
    float dc_offset;            // 直流偏移量
    bool period_valid;          // 週期是否有效
    int zero_crossing_count;    // 零交叉計數
    float prev_value;           // 前一個值（用於零交叉檢測）
} period_tracker_t;

/* ============ Hampel 濾波器結構 ============ */
typedef struct {
    float window[HAMPEL_WINDOW_SIZE];
    int window_idx;
    int window_count;
    int outliers_detected;      // 檢測到的異常值數量
} hampel_filter_t;

/* ============ Cubic Spline 結構 ============ */
typedef struct {
    float x[SPLINE_POINTS];     // x 座標（時間）
    float y[SPLINE_POINTS];     // y 座標（電流值）
    float a[SPLINE_POINTS];     // 係數 a
    float b[SPLINE_POINTS];     // 係數 b
    float c[SPLINE_POINTS];     // 係數 c
    float d[SPLINE_POINTS];     // 係數 d
    int n;                      // 點數
    bool coefficients_valid;    // 係數是否有效
} cubic_spline_t;

/* ============ 信號重建器主結構 ============ */
typedef struct {
    sample_buffer_t buffer;
    period_tracker_t period_tracker;
    hampel_filter_t hampel;
    cubic_spline_t spline;
    
    // 統計信息
    int total_samples;
    int filtered_samples;
    int interpolated_samples;
    int phase_locked_samples;
    
    // 輸出結果
    float current_filtered;     // 濾波後的電流值
    float peak_current;         // 峰值電流
    float rms_current;          // RMS 電流
    float average_current;      // 平均電流
} signal_reconstructor_t;

/* ============ 函數原型 ============ */

// 初始化函數
void signal_reconstructor_init(signal_reconstructor_t *sr, float expected_sample_interval);
void sample_buffer_init(sample_buffer_t *buf, float expected_interval);
void period_tracker_init(period_tracker_t *pt);
void hampel_filter_init(hampel_filter_t *hf);
void cubic_spline_init(cubic_spline_t *spline);

// Hampel 濾波器
float hampel_filter_process(hampel_filter_t *hf, float value, bool *is_outlier);
float quick_select_median(float *arr, int n);

// 相位鎖定重建
void period_tracker_update(period_tracker_t *pt, float value, float timestamp);
float phase_locked_reconstruct(signal_reconstructor_t *sr, float timestamp);
float get_current_phase(period_tracker_t *pt, float timestamp);

// Cubic Spline 插值
void cubic_spline_compute_coefficients(cubic_spline_t *spline);
float cubic_spline_evaluate(cubic_spline_t *spline, float x);
void cubic_spline_add_point(cubic_spline_t *spline, float x, float y);

// 樣本緩衝區操作
void sample_buffer_add(sample_buffer_t *buf, float value, float timestamp, sample_quality_t quality);
sample_t* sample_buffer_get(sample_buffer_t *buf, int offset);
int sample_buffer_detect_gaps(sample_buffer_t *buf, float *gap_timestamps, int max_gaps);

// 主處理流程
float signal_reconstructor_process(signal_reconstructor_t *sr, float raw_value, float timestamp);
void signal_reconstructor_update_statistics(signal_reconstructor_t *sr);

// 工具函數
void signal_reconstructor_reset_statistics(signal_reconstructor_t *sr);
void signal_reconstructor_get_statistics(signal_reconstructor_t *sr, 
                                          float *peak, float *rms, float *avg,
                                          int *total, int *filtered, int *interpolated);

#endif // SIGNAL_RECONSTRUCTION_H
```

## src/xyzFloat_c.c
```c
#include "xyzFloat_c.h"

void xyzFloat_init(xyzFloat_t *vec) {
    if (vec) {
        vec->x = 0.0f;
        vec->y = 0.0f;
        vec->z = 0.0f;
    }
}

void xyzFloat_init_values(xyzFloat_t *vec, float x, float y, float z) {
    if (vec) {
        vec->x = x;
        vec->y = y;
        vec->z = z;
    }
}

xyzFloat_t xyzFloat_unary_plus(const xyzFloat_t *vec) {
    return *vec;
}

xyzFloat_t xyzFloat_unary_minus(const xyzFloat_t *vec) {
    xyzFloat_t result;
    result.x = -vec->x;
    result.y = -vec->y;
    result.z = -vec->z;
    return result;
}

xyzFloat_t xyzFloat_add(const xyzFloat_t *v1, const xyzFloat_t *v2) {
    xyzFloat_t result;
    result.x = v1->x + v2->x;
    result.y = v1->y + v2->y;
    result.z = v1->z + v2->z;
    return result;
}

xyzFloat_t xyzFloat_subtract(const xyzFloat_t *v1, const xyzFloat_t *v2) {
    xyzFloat_t result;
    result.x = v1->x - v2->x;
    result.y = v1->y - v2->y;
    result.z = v1->z - v2->z;
    return result;
}

xyzFloat_t xyzFloat_multiply_scalar(const xyzFloat_t *vec, float scalar) {
    xyzFloat_t result;
    result.x = vec->x * scalar;
    result.y = vec->y * scalar;
    result.z = vec->z * scalar;
    return result;
}

xyzFloat_t xyzFloat_divide_scalar(const xyzFloat_t *vec, float scalar) {
    xyzFloat_t result;
    if (scalar != 0.0f) {
        result.x = vec->x / scalar;
        result.y = vec->y / scalar;
        result.z = vec->z / scalar;
    } else {
        // Handle division by zero, e.g., return zero vector or NaNs
        xyzFloat_init(&result);
    }
    return result;
}

void xyzFloat_add_assign(xyzFloat_t *v1, const xyzFloat_t *v2) {
    v1->x += v2->x;
    v1->y += v2->y;
    v1->z += v2->z;
}

void xyzFloat_subtract_assign(xyzFloat_t *v1, const xyzFloat_t *v2) {
    v1->x -= v2->x;
    v1->y -= v2->y;
    v1->z -= v2->z;
}

void xyzFloat_multiply_assign_scalar(xyzFloat_t *vec, float scalar) {
    vec->x *= scalar;
    vec->y *= scalar;
    vec->z *= scalar;
}

void xyzFloat_divide_assign_scalar(xyzFloat_t *vec, float scalar) {
    if (scalar != 0.0f) {
        vec->x /= scalar;
        vec->y /= scalar;
        vec->z /= scalar;
    } else {
        // Handle division by zero if necessary, e.g. set to 0 or NaN
        vec->x = 0.0f; // Or NAN
        vec->y = 0.0f;
        vec->z = 0.0f;
    }
}
```

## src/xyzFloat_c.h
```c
#ifndef XYZ_FLOAT_C_H_
#define XYZ_FLOAT_C_H_

#include <math.h> // For sqrtf, fabsf if needed for operations

// 原本的 xyzFloat 結構保持不變
typedef struct {
    float x;
    float y;
    float z;
} xyzFloat_t;

// 建構函式替代品
void xyzFloat_init(xyzFloat_t *vec);
void xyzFloat_init_values(xyzFloat_t *vec, float x, float y, float z);

// 運算子重載的 C 語言替代函式
xyzFloat_t xyzFloat_unary_plus(const xyzFloat_t *vec);
xyzFloat_t xyzFloat_unary_minus(const xyzFloat_t *vec);
xyzFloat_t xyzFloat_add(const xyzFloat_t *v1, const xyzFloat_t *v2);
xyzFloat_t xyzFloat_subtract(const xyzFloat_t *v1, const xyzFloat_t *v2);
xyzFloat_t xyzFloat_multiply_scalar(const xyzFloat_t *vec, float scalar);
xyzFloat_t xyzFloat_divide_scalar(const xyzFloat_t *vec, float scalar);

void xyzFloat_add_assign(xyzFloat_t *v1, const xyzFloat_t *v2);
void xyzFloat_subtract_assign(xyzFloat_t *v1, const xyzFloat_t *v2);
void xyzFloat_multiply_assign_scalar(xyzFloat_t *vec, float scalar);
void xyzFloat_divide_assign_scalar(xyzFloat_t *vec, float scalar);

#endif // XYZ_FLOAT_C_H_
```
